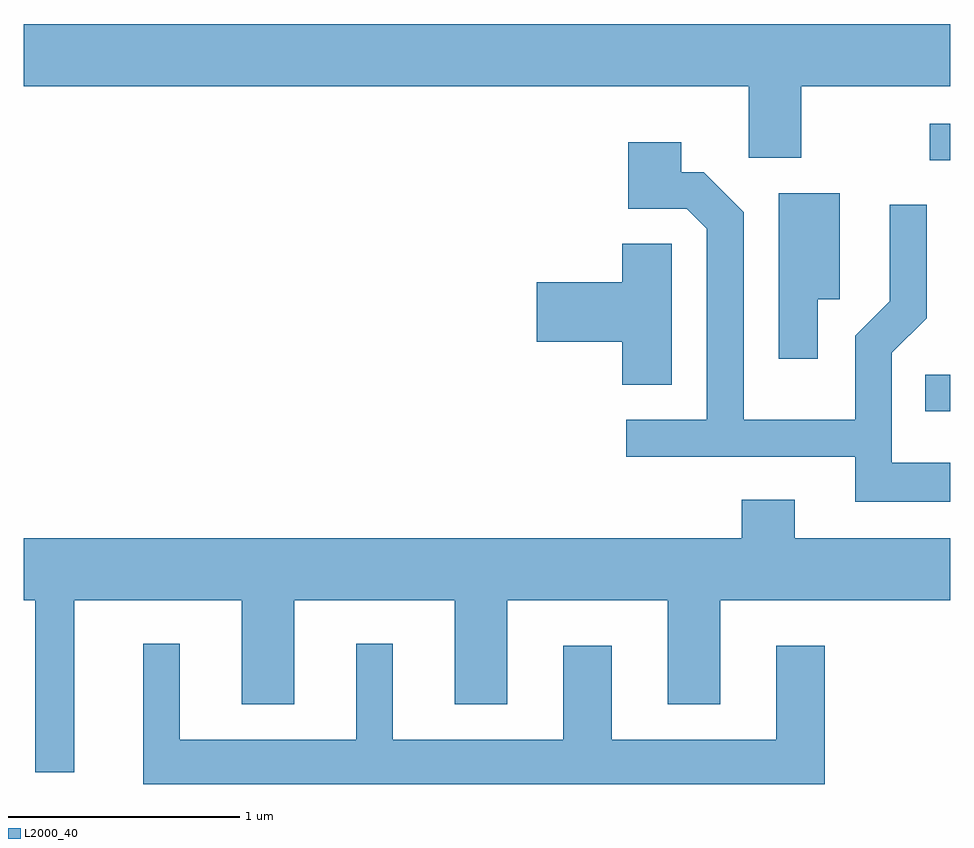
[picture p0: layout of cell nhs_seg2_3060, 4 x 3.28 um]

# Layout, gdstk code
import gdstk
lib = gdstk.Library(unit=1e-6, precision=1e-09)
def R(c, l, rs):  # rectangles x0, y0, x1, y1
    for r in rs: c.add(gdstk.rectangle(r[:2], r[2:], *l))
def P(c, l, *ps):  # polygons
    for p in ps: c.add(gdstk.Polygon(p, *l))
L2000_40 = (2000, 40)

nhs_seg2_3060 = lib.new_cell('nhs_seg2_3060')
R(nhs_seg2_3060, L2000_40, [(279.503,991.411,279.611,991.569), (279.523,992.496,279.611,992.654)])
P(nhs_seg2_3060, L2000_40, [(278.969,992.816),(279.611,992.816),(279.611,993.084),(275.611,993.084),(275.611,992.816),(278.741,992.816),(278.741,992.506),(278.969,992.506)],
  [(279.611,991.189),(279.359,991.189),(279.359,991.664),(279.509,991.814),(279.509,992.303),(279.351,992.303),(279.351,991.887),(279.201,991.737),(279.201,991.374),(278.719,991.374),(278.719,992.272),(278.547,992.444),(278.449,992.444),(278.449,992.574),(278.221,992.574),(278.221,992.286),(278.474,992.286),(278.561,992.199),(278.561,991.374),(278.213,991.374),(278.213,991.216),(279.201,991.216),(279.201,991.021),(279.611,991.021)],
  [(279.039,991.896),(279.134,991.896),(279.134,992.354),(278.871,992.354),(278.871,991.638),(279.039,991.638)],
  [(278.409,992.134),(278.196,992.134),(278.196,991.969),(277.826,991.969),(277.826,991.711),(278.196,991.711),(278.196,991.526),(278.409,991.526)],
  [(275.829,990.596),(276.551,990.596),(276.551,990.146),(276.779,990.146),(276.779,990.596),(277.471,990.596),(277.471,990.146),(277.699,990.146),(277.699,990.596),(278.391,990.596),(278.391,990.146),(278.619,990.146),(278.619,990.596),(279.611,990.596),(279.611,990.864),(278.939,990.864),(278.939,991.029),(278.711,991.029),(278.711,990.864),(275.611,990.864),(275.611,990.596),(275.661,990.596),(275.661,989.853),(275.829,989.853)],
  [(279.069,990.399),(278.861,990.399),(278.861,989.994),(278.149,989.994),(278.149,990.399),(277.941,990.399),(277.941,989.994),(277.204,989.994),(277.204,990.408),(277.046,990.408),(277.046,989.994),(276.284,989.994),(276.284,990.408),(276.126,990.408),(276.126,989.802),(279.069,989.802)])

lib.write_gds('nhs_seg2_3060.gds')
